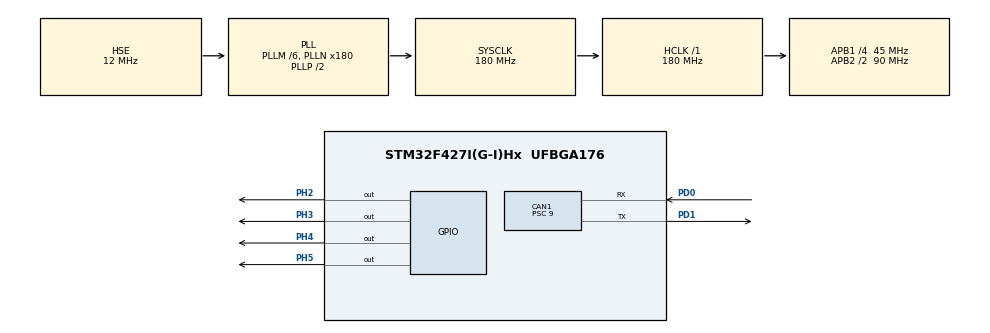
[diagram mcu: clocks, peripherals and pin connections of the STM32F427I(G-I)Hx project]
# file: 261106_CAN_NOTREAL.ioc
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CAN1.BS1=CAN_BS1_2TQ
CAN1.BS2=CAN_BS2_2TQ
CAN1.CalculateBaudRate=1000000
CAN1.CalculateTimeBit=1000
CAN1.CalculateTimeQuantum=200.0
CAN1.Prescaler=9
Mcu.Family=STM32F4
Mcu.Name=STM32F427I(G-I)Hx
Mcu.Package=UFBGA176
NVIC.CAN1_RX0_IRQn=true\:6\:0\:true\:false\:true\:true\:true
NVIC.PriorityGroup=NVIC_PRIORITYGROUP_4
NVIC.TIM6_DAC_IRQn=true\:6\:0\:true\:false\:true\:true\:true
PA13.Mode=Serial_Wire
PA13.Signal=SYS_JTMS-SWDIO
PA14.Mode=Serial_Wire
PA14.Signal=SYS_JTCK-SWCLK
PB12.Signal=CAN2_RX
PB13.Signal=CAN2_TX
PC14/OSC32_IN.Mode=LSE-External-Oscillator
PC14/OSC32_IN.Signal=RCC_OSC32_IN
PC15/OSC32_OUT.Mode=LSE-External-Oscillator
PC15/OSC32_OUT.Signal=RCC_OSC32_OUT
PD0.Mode=CAN_Activate
PD0.Signal=CAN1_RX
PD1.Mode=CAN_Activate
PD1.Signal=CAN1_TX
PH0/OSC_IN.Mode=HSE-External-Oscillator
PH0/OSC_IN.Signal=RCC_OSC_IN
PH1/OSC_OUT.Mode=HSE-External-Oscillator
PH1/OSC_OUT.Signal=RCC_OSC_OUT
PH2.GPIO_PuPd=GPIO_PULLUP
PH2.Signal=GPIO_Output
PH3.GPIO_PuPd=GPIO_PULLUP
PH3.Signal=GPIO_Output
PH4.GPIO_PuPd=GPIO_PULLUP
PH4.Signal=GPIO_Output
PH5.GPIO_PuPd=GPIO_PULLUP
PH5.Signal=GPIO_Output
ProjectManager.HeapSize=0x200
ProjectManager.StackSize=0x400
ProjectManager.TargetToolchain=MDK-ARM V5.32
RCC.48MHZClocksFreq_Value=90000000
RCC.AHBFreq_Value=180000000
RCC.APB1CLKDivider=RCC_HCLK_DIV4
RCC.APB1Freq_Value=45000000
RCC.APB1TimFreq_Value=90000000
RCC.APB2CLKDivider=RCC_HCLK_DIV2
RCC.APB2Freq_Value=90000000
RCC.APB2TimFreq_Value=180000000
RCC.CortexFreq_Value=180000000
RCC.HCLKFreq_Value=180000000
RCC.HSE_VALUE=12000000
RCC.HSI_VALUE=16000000
RCC.PLLM=6
RCC.PLLN=180
RCC.PLLSourceVirtual=RCC_PLLSOURCE_HSE
RCC.SYSCLKFreq_VALUE=180000000
RCC.SYSCLKSource=RCC_SYSCLKSOURCE_PLLCLK
RCC.VCOOutputFreq_Value=360000000
TIM6.Period=99
TIM6.Prescaler=4499
VP_TIM6_VS_ClockSourceINT.Mode=Enable_Timer
board=custom

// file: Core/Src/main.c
/* USER CODE BEGIN Header */
/**
  ******************************************************************************
  * @file           : main.c
  * @brief          : Main program body
  ******************************************************************************
  * @attention
  *
  * Copyright (c) 2026 STMicroelectronics.
  * All rights reserved.
  *
  * This software is licensed under terms that can be found in the LICENSE file
  * in the root directory of this software component.
  * If no LICENSE file comes with this software, it is provided AS-IS.
  *
  ******************************************************************************
  */
/* USER CODE END Header */
#include "main.h"
#include "can.h"
#include "tim.h"
#include "gpio.h"

/* USER CODE BEGIN Includes */
#include "pid.h"
/* USER CODE END Includes */

/* USER CODE BEGIN PV */
typedef struct{
	uint16_t angle;
	int16_t rpm;
	int16_t current;
	uint8_t temperature;
}Motor_t;
Motor_t motor[4];
PID_t speed_pid[4];
CAN_TxHeaderTypeDef hdr;
uint32_t mailbox;

/* USER CODE END PV */

void SystemClock_Config(void);

int main(void)
{

  /* MCU Configuration--------------------------------------------------------*/

  /* Reset of all peripherals, Initializes the Flash interface and the Systick. */
  HAL_Init();

  /* Configure the system clock */
  SystemClock_Config();

  /* Initialize all configured peripherals */
  MX_GPIO_Init();
  MX_CAN1_Init();
  MX_TIM6_Init();

  /* USER CODE BEGIN 2 */
	CAN_FilterTypeDef f;

		f.FilterBank           = 0;                     /* ⚠️ 0~13 之间 */
		f.FilterMode           = CAN_FILTERMODE_IDMASK;
		f.FilterScale          = CAN_FILTERSCALE_32BIT;
		f.FilterIdHigh         = (0x200 & 0x7FF) << 5;
		f.FilterIdLow          = 0;
		f.FilterMaskIdHigh     = (0x7F8 & 0x7FF) << 5;
		f.FilterMaskIdLow      = 0;
		f.FilterFIFOAssignment = CAN_RX_FIFO0;
		f.FilterActivation     = ENABLE;
		f.SlaveStartFilterBank = 14;                    /* ⚠️ F427 特有 */

		hdr.StdId = 0x200;
		hdr.ExtId = 0;
		hdr.IDE = CAN_ID_STD;
		hdr.RTR = CAN_RTR_DATA;
		hdr.DLC = 8;
	int i;
	for(i=0; i<4; i++){PID_Init(&speed_pid[i], 0.0f, 0.0f, 0.0f, 16384.0f, -16384.0f, 200000.f);}
	HAL_CAN_ActivateNotification(&hcan1, CAN_IT_RX_FIFO0_MSG_PENDING);

	HAL_CAN_ConfigFilter(&hcan1, &f);
	HAL_CAN_Start(&hcan1);
	HAL_CAN_ActivateNotification(&hcan1, CAN_IT_RX_FIFO0_MSG_PENDING);
	HAL_TIM_Base_Start_IT(&htim6);

  /* USER CODE END 2 */

  /* Infinite loop */
  while (1)
  {

  }
}

void SystemClock_Config(void)
{
  RCC_OscInitTypeDef RCC_OscInitStruct = {0};
  RCC_ClkInitTypeDef RCC_ClkInitStruct = {0};

  /** Configure the main internal regulator output voltage
  */
  __HAL_RCC_PWR_CLK_ENABLE();
  __HAL_PWR_VOLTAGESCALING_CONFIG(PWR_REGULATOR_VOLTAGE_SCALE1);
  /** Initializes the RCC Oscillators according to the specified parameters
  * in the RCC_OscInitTypeDef structure.
  */
  RCC_OscInitStruct.OscillatorType = RCC_OSCILLATORTYPE_HSE;
  RCC_OscInitStruct.HSEState = RCC_HSE_ON;
  RCC_OscInitStruct.PLL.PLLState = RCC_PLL_ON;
  RCC_OscInitStruct.PLL.PLLSource = RCC_PLLSOURCE_HSE;
  RCC_OscInitStruct.PLL.PLLM = 6;
  RCC_OscInitStruct.PLL.PLLN = 180;
  RCC_OscInitStruct.PLL.PLLP = RCC_PLLP_DIV2;
  RCC_OscInitStruct.PLL.PLLQ = 4;
  if (HAL_RCC_OscConfig(&RCC_OscInitStruct) != HAL_OK)
  {
    Error_Handler();
  }
  /** Activate the Over-Drive mode
  */
  if (HAL_PWREx_EnableOverDrive() != HAL_OK)
  {
    Error_Handler();
  }
  /** Initializes the CPU, AHB and APB buses clocks
  */
  RCC_ClkInitStruct.ClockType = RCC_CLOCKTYPE_HCLK|RCC_CLOCKTYPE_SYSCLK
                              |RCC_CLOCKTYPE_PCLK1|RCC_CLOCKTYPE_PCLK2;
  RCC_ClkInitStruct.SYSCLKSource = RCC_SYSCLKSOURCE_PLLCLK;
  RCC_ClkInitStruct.AHBCLKDivider = RCC_SYSCLK_DIV1;
  RCC_ClkInitStruct.APB1CLKDivider = RCC_HCLK_DIV4;
  RCC_ClkInitStruct.APB2CLKDivider = RCC_HCLK_DIV2;

  if (HAL_RCC_ClockConfig(&RCC_ClkInitStruct, FLASH_LATENCY_5) != HAL_OK)
  {
    Error_Handler();
  }
}

/* USER CODE BEGIN 4 */
void HAL_CAN_RxFifo0MsgPendingCallback(CAN_HandleTypeDef *hcan){
	CAN_RxHeaderTypeDef rx;
	uint8_t d[8];
	HAL_CAN_GetRxMessage(&hcan1, CAN_RX_FIFO0, &rx, d);
	uint8_t i = (uint8_t)(rx.StdId - 0x201);
	if(i>3) return;
	motor[i].rpm = (int16_t)(d[2] << 8) | d[3];
}
void HAL_TIM_PeriodElapsedCallback(TIM_HandleTypeDef *htim){
	uint8_t tx[8] = {0};
	for(int i = 0; i < 4; i++){
		PID_Calc(&speed_pid[i], 100, motor[i].rpm, 0.005);
		int16_t cur = (int16_t)speed_pid[i].output;
		tx[i*2] = (uint8_t)(cur >> 8);
		tx[i*2 + 1] = (uint8_t)cur;
	}
	HAL_CAN_AddTxMessage(&hcan1, &hdr, tx, &mailbox);
}
/* USER CODE END 4 */

void Error_Handler(void)
{
  __disable_irq();
  while (1)
  {
  }
}
